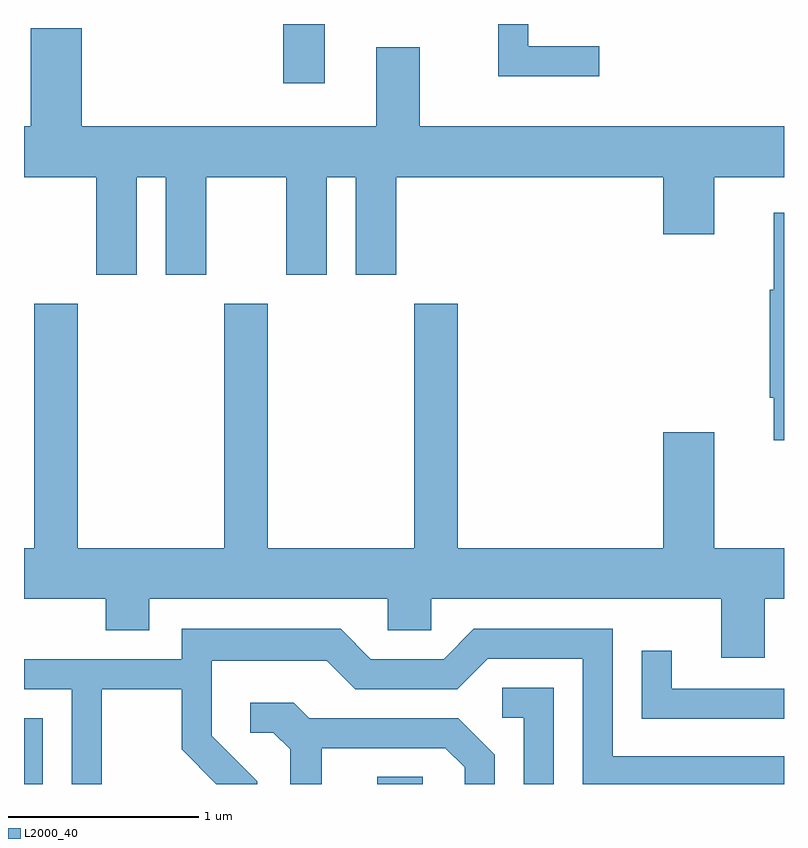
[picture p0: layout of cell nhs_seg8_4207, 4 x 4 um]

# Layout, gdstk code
import gdstk
lib = gdstk.Library(unit=1e-6, precision=1e-09)
def R(c, l, rs):  # rectangles x0, y0, x1, y1
    for r in rs: c.add(gdstk.rectangle(r[:2], r[2:], *l))
def P(c, l, *ps):  # polygons
    for p in ps: c.add(gdstk.Polygon(p, *l))
L2000_40 = (2000, 40)

nhs_seg8_4207 = lib.new_cell('nhs_seg8_4207')
R(nhs_seg8_4207, L2000_40, [(311.611,1824.342,311.709,1824.689), (313.471,1824.342,313.709,1824.379), (312.976,1828.031,313.194,1828.342)])
P(nhs_seg8_4207, L2000_40, [(314.638,1828.224),(314.264,1828.224),(314.264,1828.342),(314.106,1828.342),(314.106,1828.066),(314.638,1828.066)],
  [(312.204,1827.536),(312.356,1827.536),(312.356,1827.021),(312.569,1827.021),(312.569,1827.536),(312.991,1827.536),(312.991,1827.021),(313.204,1827.021),(313.204,1827.536),(313.356,1827.536),(313.356,1827.021),(313.569,1827.021),(313.569,1827.536),(314.976,1827.536),(314.976,1827.236),(315.244,1827.236),(315.244,1827.536),(315.611,1827.536),(315.611,1827.804),(313.694,1827.804),(313.694,1828.219),(313.466,1828.219),(313.466,1827.804),(311.914,1827.804),(311.914,1828.319),(311.646,1828.319),(311.646,1827.804),(311.611,1827.804),(311.611,1827.536),(311.991,1827.536),(311.991,1827.021),(312.204,1827.021)],
  [(315.611,1827.349),(315.556,1827.349),(315.556,1826.944),(315.536,1826.944),(315.536,1826.376),(315.556,1826.376),(315.556,1826.151),(315.611,1826.151)],
  [(314.976,1826.194),(314.976,1825.584),(313.894,1825.584),(313.894,1826.869),(313.666,1826.869),(313.666,1825.584),(312.894,1825.584),(312.894,1826.869),(312.666,1826.869),(312.666,1825.584),(311.894,1825.584),(311.894,1826.869),(311.666,1826.869),(311.666,1825.584),(311.611,1825.584),(311.611,1825.316),(312.041,1825.316),(312.041,1825.151),(312.269,1825.151),(312.269,1825.316),(313.526,1825.316),(313.526,1825.151),(313.754,1825.151),(313.754,1825.316),(315.281,1825.316),(315.281,1825.006),(315.509,1825.006),(315.509,1825.316),(315.611,1825.316),(315.611,1825.584),(315.244,1825.584),(315.244,1826.194)],
  [(312.019,1824.841),(312.441,1824.841),(312.441,1824.524),(312.623,1824.342),(312.839,1824.342),(312.839,1824.357),(312.599,1824.597),(312.599,1824.991),(313.204,1824.991),(313.354,1824.841),(313.892,1824.841),(314.052,1825.001),(314.551,1825.001),(314.551,1824.342),(315.611,1824.342),(315.611,1824.489),(314.709,1824.489),(314.709,1825.159),(313.979,1825.159),(313.819,1824.999),(313.437,1824.999),(313.277,1825.159),(312.441,1825.159),(312.441,1824.999),(311.611,1824.999),(311.611,1824.841),(311.861,1824.841),(311.861,1824.342),(312.019,1824.342)],
  [(315.611,1824.844),(315.019,1824.844),(315.019,1825.043),(314.861,1825.043),(314.861,1824.686),(315.611,1824.686)],
  [(314.399,1824.849),(314.128,1824.849),(314.128,1824.691),(314.241,1824.691),(314.241,1824.342),(314.399,1824.342)],
  [(313.179,1824.531),(313.829,1824.531),(313.931,1824.429),(313.931,1824.342),(314.089,1824.342),(314.089,1824.497),(313.897,1824.689),(313.112,1824.689),(313.032,1824.769),(312.803,1824.769),(312.803,1824.611),(312.924,1824.611),(313.011,1824.524),(313.011,1824.342),(313.179,1824.342)])

lib.write_gds('nhs_seg8_4207.gds')
